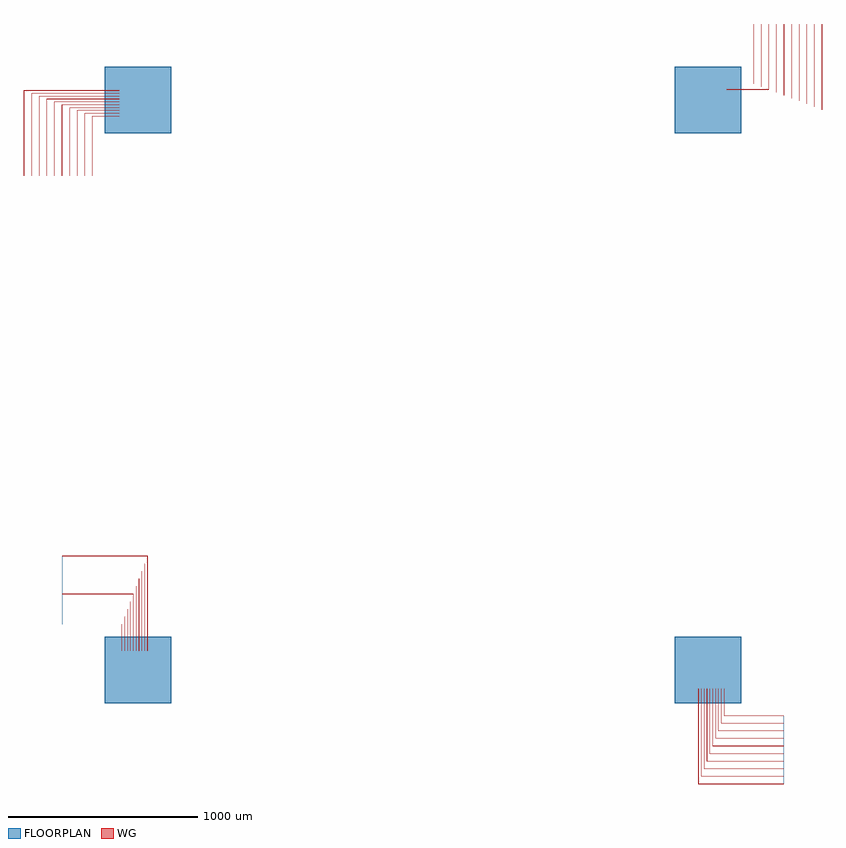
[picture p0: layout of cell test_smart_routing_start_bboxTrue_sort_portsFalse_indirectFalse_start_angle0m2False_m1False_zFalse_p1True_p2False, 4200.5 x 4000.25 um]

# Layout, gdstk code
import gdstk
lib = gdstk.Library(unit=1e-6, precision=1e-09)
def R(c, l, rs):  # rectangles x0, y0, x1, y1
    for r in rs: c.add(gdstk.rectangle(r[:2], r[2:], *l))
def P(c, l, *ps):  # polygons
    for p in ps: c.add(gdstk.Polygon(p, *l))
WG = (1, 0)
FLOORPLAN = (10, 0)

test_smart_routing_start = lib.new_cell('test_smart_routing_start_bboxTrue_sort_portsFalse_indirectFalse_start_angle0m2False_m1False_zFalse_p1True_p2False')
P(test_smart_routing_start, WG, [(49.75,100),(49.75,599.75),(-400,599.75),(-400,599.95),(49.95,599.95),(49.95,100)],
  [(50.05,100),(50.05,600.05),(-400,600.05),(-400,600.25),(50.25,600.25),(50.25,100)],
  [(34.75,100),(34.75,559.75),(-400,559.75),(-400,559.95),(34.95,559.95),(34.95,100)],
  [(35.05,100),(35.05,560.05),(-400,560.05),(-400,560.25),(35.25,560.25),(35.25,100)],
  [(19.75,100),(19.75,519.75),(-400,519.75),(-400,519.95),(19.95,519.95),(19.95,100)],
  [(20.05,100),(20.05,520.05),(-400,520.05),(-400,520.25),(20.25,520.25),(20.25,100)],
  [(4.75,100),(4.75,479.75),(-400,479.75),(-400,479.95),(4.95,479.95),(4.95,100)],
  [(5.05,100),(5.05,480.05),(-400,480.05),(-400,480.25),(5.25,480.25),(5.25,100)],
  [(-10.25,100),(-10.25,439.75),(-400,439.75),(-400,439.95),(-10.05,439.95),(-10.05,100)],
  [(-9.95,100),(-9.95,440.05),(-400,440.05),(-400,440.25),(-9.75,440.25),(-9.75,100)],
  [(-25.25,100),(-25.25,399.75),(-400,399.75),(-400,399.95),(-25.05,399.95),(-25.05,100)],
  [(-24.95,100),(-24.95,400.05),(-400,400.05),(-400,400.25),(-24.75,400.25),(-24.75,100)],
  [(-40.25,100),(-40.25,359.75),(-400,359.75),(-400,359.95),(-40.05,359.95),(-40.05,100)],
  [(-39.95,100),(-39.95,360.05),(-400,360.05),(-400,360.25),(-39.75,360.25),(-39.75,100)],
  [(-55.25,100),(-55.25,319.75),(-400,319.75),(-400,319.95),(-55.05,319.95),(-55.05,100)],
  [(-54.95,100),(-54.95,320.05),(-400,320.05),(-400,320.25),(-54.75,320.25),(-54.75,100)],
  [(-70.25,100),(-70.25,279.75),(-400,279.75),(-400,279.95),(-70.05,279.95),(-70.05,100)],
  [(-69.95,100),(-69.95,280.05),(-400,280.05),(-400,280.25),(-69.75,280.25),(-69.75,100)],
  [(-85.25,100),(-85.25,239.75),(-400,239.75),(-400,239.95),(-85.05,239.95),(-85.05,100)],
  [(-84.95,100),(-84.95,240.05),(-400,240.05),(-400,240.25),(-84.75,240.25),(-84.75,100)],
  [(-599.95,2600),(-599.95,3049.95),(-100,3049.95),(-100,3049.75),(-599.75,3049.75),(-599.75,2600)],
  [(-600.25,2600),(-600.25,3050.25),(-100,3050.25),(-100,3050.05),(-600.05,3050.05),(-600.05,2600)],
  [(-559.95,2600),(-559.95,3034.95),(-100,3034.95),(-100,3034.75),(-559.75,3034.75),(-559.75,2600)],
  [(-560.25,2600),(-560.25,3035.25),(-100,3035.25),(-100,3035.05),(-560.05,3035.05),(-560.05,2600)],
  [(-519.95,2600),(-519.95,3019.95),(-100,3019.95),(-100,3019.75),(-519.75,3019.75),(-519.75,2600)],
  [(-520.25,2600),(-520.25,3020.25),(-100,3020.25),(-100,3020.05),(-520.05,3020.05),(-520.05,2600)],
  [(-479.95,2600),(-479.95,3004.95),(-100,3004.95),(-100,3004.75),(-479.75,3004.75),(-479.75,2600)],
  [(-480.25,2600),(-480.25,3005.25),(-100,3005.25),(-100,3005.05),(-480.05,3005.05),(-480.05,2600)],
  [(-439.95,2600),(-439.95,2989.95),(-100,2989.95),(-100,2989.75),(-439.75,2989.75),(-439.75,2600)],
  [(-440.25,2600),(-440.25,2990.25),(-100,2990.25),(-100,2990.05),(-440.05,2990.05),(-440.05,2600)],
  [(-399.95,2600),(-399.95,2974.95),(-100,2974.95),(-100,2974.75),(-399.75,2974.75),(-399.75,2600)],
  [(-400.25,2600),(-400.25,2975.25),(-100,2975.25),(-100,2975.05),(-400.05,2975.05),(-400.05,2600)],
  [(-359.95,2600),(-359.95,2959.95),(-100,2959.95),(-100,2959.75),(-359.75,2959.75),(-359.75,2600)],
  [(-360.25,2600),(-360.25,2960.25),(-100,2960.25),(-100,2960.05),(-360.05,2960.05),(-360.05,2600)],
  [(-319.95,2600),(-319.95,2944.95),(-100,2944.95),(-100,2944.75),(-319.75,2944.75),(-319.75,2600)],
  [(-320.25,2600),(-320.25,2945.25),(-100,2945.25),(-100,2945.05),(-320.05,2945.05),(-320.05,2600)],
  [(-279.95,2600),(-279.95,2929.95),(-100,2929.95),(-100,2929.75),(-279.75,2929.75),(-279.75,2600)],
  [(-280.25,2600),(-280.25,2930.25),(-100,2930.25),(-100,2930.05),(-280.05,2930.05),(-280.05,2600)],
  [(-239.95,2600),(-239.95,2914.95),(-100,2914.95),(-100,2914.75),(-239.75,2914.75),(-239.75,2600)],
  [(-240.25,2600),(-240.25,2915.25),(-100,2915.25),(-100,2915.05),(-240.05,2915.05),(-240.05,2600)],
  [(2949.75,-600.25),(2949.75,-100),(2949.95,-100),(2949.95,-600.05),(3400,-600.05),(3400,-600.25)],
  [(2950.05,-599.95),(2950.05,-100),(2950.25,-100),(2950.25,-599.75),(3400,-599.75),(3400,-599.95)],
  [(2964.75,-560.25),(2964.75,-100),(2964.95,-100),(2964.95,-560.05),(3400,-560.05),(3400,-560.25)],
  [(2965.05,-559.95),(2965.05,-100),(2965.25,-100),(2965.25,-559.75),(3400,-559.75),(3400,-559.95)],
  [(2979.75,-520.25),(2979.75,-100),(2979.95,-100),(2979.95,-520.05),(3400,-520.05),(3400,-520.25)],
  [(2980.05,-519.95),(2980.05,-100),(2980.25,-100),(2980.25,-519.75),(3400,-519.75),(3400,-519.95)],
  [(2994.75,-480.25),(2994.75,-100),(2994.95,-100),(2994.95,-480.05),(3400,-480.05),(3400,-480.25)],
  [(2995.05,-479.95),(2995.05,-100),(2995.25,-100),(2995.25,-479.75),(3400,-479.75),(3400,-479.95)],
  [(3009.75,-440.25),(3009.75,-100),(3009.95,-100),(3009.95,-440.05),(3400,-440.05),(3400,-440.25)],
  [(3010.05,-439.95),(3010.05,-100),(3010.25,-100),(3010.25,-439.75),(3400,-439.75),(3400,-439.95)],
  [(3024.75,-400.25),(3024.75,-100),(3024.95,-100),(3024.95,-400.05),(3400,-400.05),(3400,-400.25)],
  [(3025.05,-399.95),(3025.05,-100),(3025.25,-100),(3025.25,-399.75),(3400,-399.75),(3400,-399.95)],
  [(3039.75,-360.25),(3039.75,-100),(3039.95,-100),(3039.95,-360.05),(3400,-360.05),(3400,-360.25)],
  [(3040.05,-359.95),(3040.05,-100),(3040.25,-100),(3040.25,-359.75),(3400,-359.75),(3400,-359.95)],
  [(3054.75,-320.25),(3054.75,-100),(3054.95,-100),(3054.95,-320.05),(3400,-320.05),(3400,-320.25)],
  [(3055.05,-319.95),(3055.05,-100),(3055.25,-100),(3055.25,-319.75),(3400,-319.75),(3400,-319.95)],
  [(3069.75,-280.25),(3069.75,-100),(3069.95,-100),(3069.95,-280.05),(3400,-280.05),(3400,-280.25)],
  [(3070.05,-279.95),(3070.05,-100),(3070.25,-100),(3070.25,-279.75),(3400,-279.75),(3400,-279.95)],
  [(3084.75,-240.25),(3084.75,-100),(3084.95,-100),(3084.95,-240.05),(3400,-240.05),(3400,-240.25)],
  [(3085.05,-239.95),(3085.05,-100),(3085.25,-100),(3085.25,-239.75),(3400,-239.75),(3400,-239.95)],
  [(3100,2950.05),(3100,2950.25),(3599.75,2950.25),(3599.75,3400),(3599.95,3400),(3599.95,2950.05)],
  [(3100,2949.75),(3100,2949.95),(3600.05,2949.95),(3600.05,3400),(3600.25,3400),(3600.25,2949.75)],
  [(3100,2965.05),(3100,2965.25),(3559.75,2965.25),(3559.75,3400),(3559.95,3400),(3559.95,2965.05)],
  [(3100,2964.75),(3100,2964.95),(3560.05,2964.95),(3560.05,3400),(3560.25,3400),(3560.25,2964.75)],
  [(3100,2980.05),(3100,2980.25),(3519.75,2980.25),(3519.75,3400),(3519.95,3400),(3519.95,2980.05)],
  [(3100,2979.75),(3100,2979.95),(3520.05,2979.95),(3520.05,3400),(3520.25,3400),(3520.25,2979.75)],
  [(3100,2995.05),(3100,2995.25),(3479.75,2995.25),(3479.75,3400),(3479.95,3400),(3479.95,2995.05)],
  [(3100,2994.75),(3100,2994.95),(3480.05,2994.95),(3480.05,3400),(3480.25,3400),(3480.25,2994.75)],
  [(3100,3010.05),(3100,3010.25),(3439.75,3010.25),(3439.75,3400),(3439.95,3400),(3439.95,3010.05)],
  [(3100,3009.75),(3100,3009.95),(3440.05,3009.95),(3440.05,3400),(3440.25,3400),(3440.25,3009.75)],
  [(3100,3025.05),(3100,3025.25),(3399.75,3025.25),(3399.75,3400),(3399.95,3400),(3399.95,3025.05)],
  [(3100,3024.75),(3100,3024.95),(3400.05,3024.95),(3400.05,3400),(3400.25,3400),(3400.25,3024.75)],
  [(3100,3040.05),(3100,3040.25),(3359.75,3040.25),(3359.75,3400),(3359.95,3400),(3359.95,3040.05)],
  [(3100,3039.75),(3100,3039.95),(3360.05,3039.95),(3360.05,3400),(3360.25,3400),(3360.25,3039.75)],
  [(3100,3055.05),(3100,3055.25),(3319.75,3055.25),(3319.75,3400),(3319.95,3400),(3319.95,3055.05)],
  [(3100,3054.75),(3100,3054.95),(3320.05,3054.95),(3320.05,3400),(3320.25,3400),(3320.25,3054.75)],
  [(3100,3070.05),(3100,3070.25),(3279.75,3070.25),(3279.75,3400),(3279.95,3400),(3279.95,3070.05)],
  [(3100,3069.75),(3100,3069.95),(3280.05,3069.95),(3280.05,3400),(3280.25,3400),(3280.25,3069.75)],
  [(3100,3085.05),(3100,3085.25),(3239.75,3085.25),(3239.75,3400),(3239.95,3400),(3239.95,3085.05)],
  [(3100,3084.75),(3100,3084.95),(3240.05,3084.95),(3240.05,3400),(3240.25,3400),(3240.25,3084.75)])
R(test_smart_routing_start, FLOORPLAN, [(-175,-175,175,175), (2825,-175,3175,175), (-175,2825,175,3175), (2825,2825,3175,3175)])
P(test_smart_routing_start, FLOORPLAN, [(-400,240),(-400,600),(-400,600),(-400,240)],
  [(-600,2600),(-600,2600),(-240,2600),(-240,2600)],
  [(3400,-600),(3400,-240),(3400,-240),(3400,-600)],
  [(3240,3400),(3240,3400),(3600,3400),(3600,3400)])

lib.write_gds('test_smart_routing_start_bboxTrue_sort_portsFalse_indirectFalse_start_angle0m2False_m1False_zFalse_p1True_p2False.gds')
